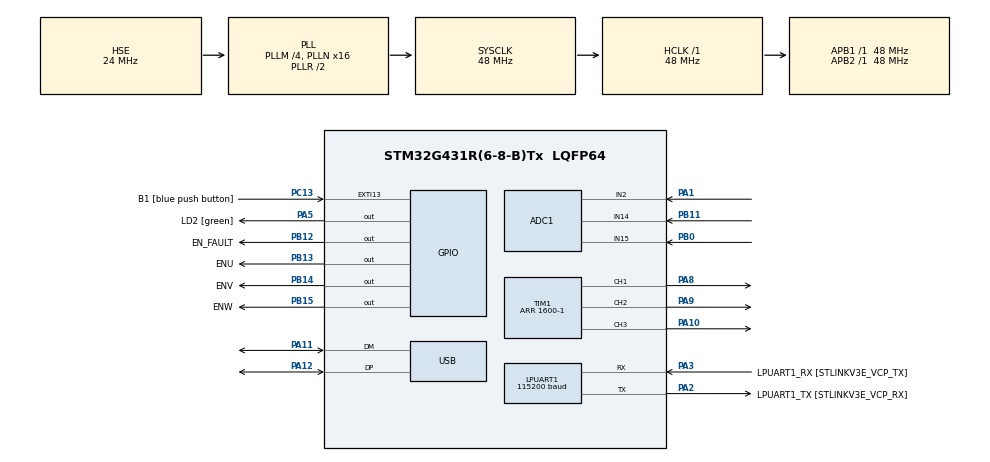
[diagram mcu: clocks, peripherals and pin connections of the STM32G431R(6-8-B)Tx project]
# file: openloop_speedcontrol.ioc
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ADC1.Channel-1\#ChannelRegularConversion=ADC_CHANNEL_14
ADC1.Channel-2\#ChannelRegularConversion=ADC_CHANNEL_2
ADC1.Channel-3\#ChannelRegularConversion=ADC_CHANNEL_2
ADC1.ContinuousConvMode=ENABLE
ADC1.EnableAnalogWatchDog1=false
ADC1.NbrOfConversion=3
ADC1.NbrOfConversionFlag=1
ADC1.OffsetNumber-1\#ChannelRegularConversion=ADC_OFFSET_NONE
ADC1.OffsetNumber-2\#ChannelRegularConversion=ADC_OFFSET_NONE
ADC1.OffsetNumber-3\#ChannelRegularConversion=ADC_OFFSET_NONE
ADC1.Rank-1\#ChannelRegularConversion=1
ADC1.Rank-2\#ChannelRegularConversion=2
ADC1.Rank-3\#ChannelRegularConversion=3
ADC1.SamplingTime-1\#ChannelRegularConversion=ADC_SAMPLETIME_2CYCLES_5
ADC1.SamplingTime-2\#ChannelRegularConversion=ADC_SAMPLETIME_2CYCLES_5
ADC1.SamplingTime-3\#ChannelRegularConversion=ADC_SAMPLETIME_2CYCLES_5
ADC1.master=1
LPUART1.BaudRate=115200
LPUART1.WordLength=UART_WORDLENGTH_8B
Mcu.Family=STM32G4
Mcu.Name=STM32G431R(6-8-B)Tx
Mcu.Package=LQFP64
NVIC.PriorityGroup=NVIC_PRIORITYGROUP_4
NVIC.TIM2_IRQn=true\:0\:0\:false\:false\:true\:true\:true\:true
NVIC.USB_LP_IRQn=true\:0\:0\:false\:false\:true\:false\:true\:true
PA1.Mode=IN2-Single-Ended
PA1.Signal=ADC1_IN2
PA10.Signal=S_TIM1_CH3
PA11.Mode=Device
PA11.Signal=USB_DM
PA12.Mode=Device
PA12.Signal=USB_DP
PA13.GPIO_Label=T_SWDIO
PA13.Mode=Serial_Wire
PA13.Signal=SYS_JTMS-SWDIO
PA14.GPIO_Label=T_SWCLK
PA14.Mode=Serial_Wire
PA14.Signal=SYS_JTCK-SWCLK
PA2.GPIO_Label=LPUART1_TX [STLINKV3E_VCP_RX]
PA2.Mode=Asynchronous
PA2.Signal=LPUART1_TX
PA3.GPIO_Label=LPUART1_RX [STLINKV3E_VCP_TX]
PA3.Mode=Asynchronous
PA3.Signal=LPUART1_RX
PA5.GPIO_Label=LD2 [green]
PA5.Signal=GPIO_Output
PA8.Signal=S_TIM1_CH1
PA9.Signal=S_TIM1_CH2
PB0.Mode=IN15-Single-Ended
PB0.Signal=ADC1_IN15
PB11.Mode=IN14-Single-Ended
PB11.Signal=ADC1_IN14
PB12.GPIO_Label=EN_FAULT
PB12.Signal=GPIO_Output
PB13.GPIO_Label=ENU
PB13.Signal=GPIO_Output
PB14.GPIO_Label=ENV
PB14.Signal=GPIO_Output
PB15.GPIO_Label=ENW
PB15.Signal=GPIO_Output
PB3.GPIO_Label=T_SWO
PB3.Signal=SYS_JTDO-SWO
PC13.GPIO_Label=B1 [blue push button]
PC13.Signal=GPXTI13
PC14-OSC32_IN.Mode=LSE-External-Oscillator
PC14-OSC32_IN.Signal=RCC_OSC32_IN
PC15-OSC32_OUT.Mode=LSE-External-Oscillator
PC15-OSC32_OUT.Signal=RCC_OSC32_OUT
PF0-OSC_IN.Mode=HSE-External-Oscillator
PF0-OSC_IN.Signal=RCC_OSC_IN
PF1-OSC_OUT.Mode=HSE-External-Oscillator
PF1-OSC_OUT.Signal=RCC_OSC_OUT
ProjectManager.HeapSize=0x200
ProjectManager.StackSize=0x400
ProjectManager.TargetToolchain=STM32CubeIDE
RCC.ADC12Freq_Value=48000000
RCC.AHBFreq_Value=48000000
RCC.APB1Freq_Value=48000000
RCC.APB1TimFreq_Value=48000000
RCC.APB2Freq_Value=48000000
RCC.APB2TimFreq_Value=48000000
RCC.CortexFreq_Value=48000000
RCC.EXTERNAL_CLOCK_VALUE=12288000
RCC.HCLKFreq_Value=48000000
RCC.HSE_VALUE=24000000
RCC.HSI48_VALUE=48000000
RCC.HSI_VALUE=16000000
RCC.PLLM=RCC_PLLM_DIV4
RCC.PLLN=16
RCC.PLLSourceVirtual=RCC_PLLSOURCE_HSE
RCC.RTCClockSelection=RCC_RTCCLKSOURCE_LSE
RCC.SYSCLKFreq_VALUE=48000000
RCC.SYSCLKSource=RCC_SYSCLKSOURCE_PLLCLK
RCC.USBFreq_Value=48000000
RCC.VCOOutputFreq_Value=96000000
SH.S_TIM1_CH1.0=TIM1_CH1,PWM Generation1 CH1
SH.S_TIM1_CH2.0=TIM1_CH2,PWM Generation2 CH2
SH.S_TIM1_CH3.0=TIM1_CH3,PWM Generation3 CH3
TIM1.Channel-PWM\ Generation1\ CH1=TIM_CHANNEL_1
TIM1.Channel-PWM\ Generation2\ CH2=TIM_CHANNEL_2
TIM1.Channel-PWM\ Generation3\ CH3=TIM_CHANNEL_3
TIM1.PeriodNoDither=1600-1
TIM2.PeriodNoDither=3000-1
TIM2.Prescaler=80-1
USB_DEVICE.CLASS_NAME_FS=CDC
USB_DEVICE.VirtualMode=Cdc
USB_DEVICE.VirtualModeFS=Cdc_FS
VP_SYS_VS_DBSignals.Mode=DisableDeadBatterySignals
VP_TIM1_VS_ClockSourceINT.Mode=Internal
VP_TIM2_VS_ClockSourceINT.Mode=Internal
VP_USB_DEVICE_VS_USB_DEVICE_CDC_FS.Mode=CDC_FS
board=NUCLEO-G431RB

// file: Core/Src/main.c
/* USER CODE BEGIN Header */
/**
  ******************************************************************************
  * @file           : main.c
  * @brief          : Main program body
  ******************************************************************************
  * @attention
  *
  * Copyright (c) 2023 STMicroelectronics.
  * All rights reserved.
  *
  * This software is licensed under terms that can be found in the LICENSE file
  * in the root directory of this software component.
  * If no LICENSE file comes with this software, it is provided AS-IS.
  *
  ******************************************************************************
  */
/* USER CODE END Header */
#include "main.h"
#include "usb_device.h"

/* USER CODE BEGIN Includes */
#include "usbd_cdc_if.h"
#include "string.h"
#include <math.h>
/* USER CODE END Includes */

ADC_HandleTypeDef hadc1;

UART_HandleTypeDef hlpuart1;

TIM_HandleTypeDef htim1;
TIM_HandleTypeDef htim2;

void SystemClock_Config(void);
static void MX_GPIO_Init(void);
static void MX_LPUART1_UART_Init(void);
static void MX_TIM1_Init(void);
static void MX_TIM2_Init(void);
static void MX_ADC1_Init(void);

/* USER CODE BEGIN 0 */
char data[50];
#define _constrain(amt,low,high) ((amt)<(low)?(low):((amt)>(high)?(high):(amt)))
float voltage_limit=12;
float voltage_power_supply=12;
float shaft_angle=0,open_loop_timestamp=0;
float zero_electric_angle=0,Ualpha,Ubeta=0,Ua=0,Ub=0,Uc=0,dc_a=0,dc_b=0,dc_c=0;
int period=2400;
int pole_pairs=11;
int index1=0;
uint16_t raw1,raw2,raw3;
uint16_t adc_values[3];
static inline uint32_t LL_SYSTICK_IsActiveCounterFlag(void)
{
  return ((SysTick->CTRL & SysTick_CTRL_COUNTFLAG_Msk) == (SysTick_CTRL_COUNTFLAG_Msk));
}
uint32_t getCurrentMicros(void)
{
  /* Ensure COUNTFLAG is reset by reading SysTick control and status register */
  LL_SYSTICK_IsActiveCounterFlag();
  uint32_t m = HAL_GetTick();
  const uint32_t tms = SysTick->LOAD + 1;
  __IO uint32_t u = tms - SysTick->VAL;
  if (LL_SYSTICK_IsActiveCounterFlag()) {
    m = HAL_GetTick();
    u = tms - SysTick->VAL;
  }
  return (m * 1000 + (u * 1000) / tms);
}
float _electricalAngle(float shaft_angle, int pole_pairs) {
  return (shaft_angle * pole_pairs);
}
float _normalizeAngle(float angle){
  float a = fmod(angle, 2*M_PI);   //取余运算可以用于归一化，列出特殊值例子算便知
  return a >= 0 ? a : (a + 2*M_PI);
  //三目运算符。格式：condition ? expr1 : expr2
  //其中，condition 是要求值的条件表达式，如果条件成立，则返回 expr1 的值，否则返回 expr2 的值。
  //可以将三目运算符视为 if-else 语句的简化形式。
  //fmod 函数的余数的符号与除数相同。因此，当 angle 的值为负数时，余数的符号将与 _2M_PI 的符号相反。
  //也就是说，如果 angle 的值小于 0 且 _2M_PI 的值为正数，则 fmod(angle, _2M_PI) 的余数将为负数。
  //例如，当 angle 的值为 -M_PI/2，_2M_PI 的值为 2M_PI 时，fmod(angle, _2M_PI) 将返回一个负数。
  //在这种情况下，可以通过将负数的余数加上 _2M_PI 来将角度归一化到 [0, 2M_PI] 的范围内，以确保角度的值始终为正数。
}

void setPwm(float Ua, float Ub, float Uc) {

//	// 限制上限
	Ua = _constrain(Ua, 0.0f, voltage_limit);
	Ub = _constrain(Ub, 0.0f, voltage_limit);
	Uc = _constrain(Uc, 0.0f, voltage_limit);
	// 计算占空比
	// 限制占空比从0到1
	dc_a = _constrain(Ua / voltage_power_supply, 0.0f , 1.0f );
	dc_b = _constrain(Ub / voltage_power_supply, 0.0f , 1.0f );
	dc_c = _constrain(Uc / voltage_power_supply, 0.0f , 1.0f );

	//写入PWM到PWM 0 1 2 通道
	TIM1->CCR1 = (uint32_t) roundf(dc_a*period);
	TIM1->CCR2 = (uint32_t) roundf(dc_b*period);
	TIM1->CCR3 = (uint32_t) roundf(dc_c*period);

}

void setPhaseVoltage(float Uq,float Ud, float angle_el) {
  angle_el = _normalizeAngle(angle_el + zero_electric_angle);
  // 帕克逆变换
  Ualpha =  -Uq*sin(angle_el);
  Ubeta =   Uq*cos(angle_el);

  // 克拉克逆变换
  Ua = Ualpha + voltage_power_supply/2;
  Ub = (sqrt(3)*Ubeta-Ualpha)/2 + voltage_power_supply/2;
  Uc = (-Ualpha-sqrt(3)*Ubeta)/2 + voltage_power_supply/2;
  setPwm(Ua,Ub,Uc);
}

//开环速度函数
float velocityOpenloop(float target_velocity){
//	uint32_t now_us = getCurrentMicros();
//	uint32_t now_us = HAL_GetTick();
//  Provides a tick value in microseconds.

  //计算当前每个Loop的运行时间间隔
//  float Ts = (now_us - open_loop_timestamp) * 1e-3f;
	float Ts=5E-3f;

  // 通过乘以时间间隔和目标速度来计算需要转动的机械角度，存储在 shaft_angle 变量中。
  //在此之前，还需要对轴角度进行归一化，以确保其值在 0 到 2π 之间。
  shaft_angle = _normalizeAngle(shaft_angle + target_velocity*Ts);
  //以目标速度为 10 rad/s 为例，如果时间间隔是 1 秒，则在每个循环中需要增加 10 * 1 = 10 弧度的角度变化量，才能使电机转动到目标速度。
  //如果时间间隔是 0.1 秒，那么在每个循环中需要增加的角度变化量就是 10 * 0.1 = 1 弧度，才能实现相同的目标速度。
  //因此，电机轴的转动角度取决于目标速度和时间间隔的乘积。

  // Uq is not related to voltage limit
  float Uq = 5.5;

  setPhaseVoltage(Uq,  0, _electricalAngle(shaft_angle, pole_pairs));

//  open_loop_timestamp = now_us;  //用于计算下一个时间间隔

  return Uq;
}

/* USER CODE END 0 */

int main(void)
{

  /* MCU Configuration--------------------------------------------------------*/

  /* Reset of all peripherals, Initializes the Flash interface and the Systick. */
  HAL_Init();

  /* Configure the system clock */
  SystemClock_Config();

  /* Initialize all configured peripherals */
  MX_GPIO_Init();
  MX_LPUART1_UART_Init();
  MX_TIM1_Init();
  MX_USB_Device_Init();
  MX_TIM2_Init();
  MX_ADC1_Init();
  /* USER CODE BEGIN 2 */
  HAL_GPIO_WritePin(LD2_GPIO_Port, LD2_Pin, GPIO_PIN_SET);

  HAL_GPIO_WritePin(EN_FAULT_GPIO_Port, EN_FAULT_Pin, GPIO_PIN_SET);
  HAL_GPIO_WritePin(ENU_GPIO_Port, ENU_Pin, GPIO_PIN_SET);
  HAL_GPIO_WritePin(ENV_GPIO_Port, ENV_Pin, GPIO_PIN_SET);
  HAL_GPIO_WritePin(ENW_GPIO_Port, ENW_Pin, GPIO_PIN_SET);
  sprintf(data, "Hello from stm32 \n");
  HAL_UART_Transmit(&hlpuart1,(uint8_t *)data, strlen(data),100);
  HAL_TIM_PWM_Start(&htim1, TIM_CHANNEL_1);
  HAL_TIM_PWM_Start(&htim1, TIM_CHANNEL_2);
  HAL_TIM_PWM_Start(&htim1, TIM_CHANNEL_3);
  HAL_TIM_Base_Start_IT(&htim2);
//  HAL_ADC_Start(&hadc1);
//  int index=0;
  /* USER CODE END 2 */

  /* Infinite loop */
  while (1)
  {

    /* USER CODE BEGIN 3 */

//	 	  index+=1;
  }
  /* USER CODE END 3 */
}

void SystemClock_Config(void)
{
  RCC_OscInitTypeDef RCC_OscInitStruct = {0};
  RCC_ClkInitTypeDef RCC_ClkInitStruct = {0};

  /** Configure the main internal regulator output voltage
  */
  HAL_PWREx_ControlVoltageScaling(PWR_REGULATOR_VOLTAGE_SCALE1);

  /** Initializes the RCC Oscillators according to the specified parameters
  * in the RCC_OscInitTypeDef structure.
  */
  RCC_OscInitStruct.OscillatorType = RCC_OSCILLATORTYPE_HSE;
  RCC_OscInitStruct.HSEState = RCC_HSE_ON;
  RCC_OscInitStruct.PLL.PLLState = RCC_PLL_ON;
  RCC_OscInitStruct.PLL.PLLSource = RCC_PLLSOURCE_HSE;
  RCC_OscInitStruct.PLL.PLLM = RCC_PLLM_DIV4;
  RCC_OscInitStruct.PLL.PLLN = 16;
  RCC_OscInitStruct.PLL.PLLP = RCC_PLLP_DIV2;
  RCC_OscInitStruct.PLL.PLLQ = RCC_PLLQ_DIV2;
  RCC_OscInitStruct.PLL.PLLR = RCC_PLLR_DIV2;
  if (HAL_RCC_OscConfig(&RCC_OscInitStruct) != HAL_OK)
  {
    Error_Handler();
  }

  /** Initializes the CPU, AHB and APB buses clocks
  */
  RCC_ClkInitStruct.ClockType = RCC_CLOCKTYPE_HCLK|RCC_CLOCKTYPE_SYSCLK
                              |RCC_CLOCKTYPE_PCLK1|RCC_CLOCKTYPE_PCLK2;
  RCC_ClkInitStruct.SYSCLKSource = RCC_SYSCLKSOURCE_PLLCLK;
  RCC_ClkInitStruct.AHBCLKDivider = RCC_SYSCLK_DIV1;
  RCC_ClkInitStruct.APB1CLKDivider = RCC_HCLK_DIV1;
  RCC_ClkInitStruct.APB2CLKDivider = RCC_HCLK_DIV1;

  if (HAL_RCC_ClockConfig(&RCC_ClkInitStruct, FLASH_LATENCY_1) != HAL_OK)
  {
    Error_Handler();
  }
}

static void MX_ADC1_Init(void)
{

  ADC_MultiModeTypeDef multimode = {0};
  ADC_ChannelConfTypeDef sConfig = {0};

  /** Common config
  */
  hadc1.Instance = ADC1;
  hadc1.Init.ClockPrescaler = ADC_CLOCK_SYNC_PCLK_DIV2;
  hadc1.Init.Resolution = ADC_RESOLUTION_12B;
  hadc1.Init.DataAlign = ADC_DATAALIGN_RIGHT;
  hadc1.Init.GainCompensation = 0;
  hadc1.Init.ScanConvMode = ADC_SCAN_ENABLE;
  hadc1.Init.EOCSelection = ADC_EOC_SINGLE_CONV;
  hadc1.Init.LowPowerAutoWait = DISABLE;
  hadc1.Init.ContinuousConvMode = ENABLE;
  hadc1.Init.NbrOfConversion = 3;
  hadc1.Init.DiscontinuousConvMode = DISABLE;
  hadc1.Init.ExternalTrigConv = ADC_SOFTWARE_START;
  hadc1.Init.ExternalTrigConvEdge = ADC_EXTERNALTRIGCONVEDGE_NONE;
  hadc1.Init.DMAContinuousRequests = DISABLE;
  hadc1.Init.Overrun = ADC_OVR_DATA_PRESERVED;
  hadc1.Init.OversamplingMode = DISABLE;
  if (HAL_ADC_Init(&hadc1) != HAL_OK)
  {
    Error_Handler();
  }

  /** Configure the ADC multi-mode
  */
  multimode.Mode = ADC_MODE_INDEPENDENT;
  if (HAL_ADCEx_MultiModeConfigChannel(&hadc1, &multimode) != HAL_OK)
  {
    Error_Handler();
  }

  /** Configure Regular Channel
  */
  sConfig.Channel = ADC_CHANNEL_14;
  sConfig.Rank = ADC_REGULAR_RANK_1;
  sConfig.SamplingTime = ADC_SAMPLETIME_2CYCLES_5;
  sConfig.SingleDiff = ADC_SINGLE_ENDED;
  sConfig.OffsetNumber = ADC_OFFSET_NONE;
  sConfig.Offset = 0;
  if (HAL_ADC_ConfigChannel(&hadc1, &sConfig) != HAL_OK)
  {
    Error_Handler();
  }

  /** Configure Regular Channel
  */
  sConfig.Channel = ADC_CHANNEL_2;
  sConfig.Rank = ADC_REGULAR_RANK_2;
  if (HAL_ADC_ConfigChannel(&hadc1, &sConfig) != HAL_OK)
  {
    Error_Handler();
  }

  /** Configure Regular Channel
  */
  sConfig.Rank = ADC_REGULAR_RANK_3;
  if (HAL_ADC_ConfigChannel(&hadc1, &sConfig) != HAL_OK)
  {
    Error_Handler();
  }

}

static void MX_LPUART1_UART_Init(void)
{

  hlpuart1.Instance = LPUART1;
  hlpuart1.Init.BaudRate = 115200;
  hlpuart1.Init.WordLength = UART_WORDLENGTH_8B;
  hlpuart1.Init.StopBits = UART_STOPBITS_1;
  hlpuart1.Init.Parity = UART_PARITY_NONE;
  hlpuart1.Init.Mode = UART_MODE_TX_RX;
  hlpuart1.Init.HwFlowCtl = UART_HWCONTROL_NONE;
  hlpuart1.Init.OneBitSampling = UART_ONE_BIT_SAMPLE_DISABLE;
  hlpuart1.Init.ClockPrescaler = UART_PRESCALER_DIV1;
  hlpuart1.AdvancedInit.AdvFeatureInit = UART_ADVFEATURE_NO_INIT;
  if (HAL_UART_Init(&hlpuart1) != HAL_OK)
  {
    Error_Handler();
  }
  if (HAL_UARTEx_SetTxFifoThreshold(&hlpuart1, UART_TXFIFO_THRESHOLD_1_8) != HAL_OK)
  {
    Error_Handler();
  }
  if (HAL_UARTEx_SetRxFifoThreshold(&hlpuart1, UART_RXFIFO_THRESHOLD_1_8) != HAL_OK)
  {
    Error_Handler();
  }
  if (HAL_UARTEx_DisableFifoMode(&hlpuart1) != HAL_OK)
  {
    Error_Handler();
  }

}

static void MX_TIM1_Init(void)
{

  TIM_ClockConfigTypeDef sClockSourceConfig = {0};
  TIM_MasterConfigTypeDef sMasterConfig = {0};
  TIM_OC_InitTypeDef sConfigOC = {0};
  TIM_BreakDeadTimeConfigTypeDef sBreakDeadTimeConfig = {0};

  htim1.Instance = TIM1;
  htim1.Init.Prescaler = 0;
  htim1.Init.CounterMode = TIM_COUNTERMODE_UP;
  htim1.Init.Period = 1599;
  htim1.Init.ClockDivision = TIM_CLOCKDIVISION_DIV1;
  htim1.Init.RepetitionCounter = 0;
  htim1.Init.AutoReloadPreload = TIM_AUTORELOAD_PRELOAD_DISABLE;
  if (HAL_TIM_Base_Init(&htim1) != HAL_OK)
  {
    Error_Handler();
  }
  sClockSourceConfig.ClockSource = TIM_CLOCKSOURCE_INTERNAL;
  if (HAL_TIM_ConfigClockSource(&htim1, &sClockSourceConfig) != HAL_OK)
  {
    Error_Handler();
  }
  if (HAL_TIM_PWM_Init(&htim1) != HAL_OK)
  {
    Error_Handler();
  }
  sMasterConfig.MasterOutputTrigger = TIM_TRGO_RESET;
  sMasterConfig.MasterOutputTrigger2 = TIM_TRGO2_RESET;
  sMasterConfig.MasterSlaveMode = TIM_MASTERSLAVEMODE_DISABLE;
  if (HAL_TIMEx_MasterConfigSynchronization(&htim1, &sMasterConfig) != HAL_OK)
  {
    Error_Handler();
  }
  sConfigOC.OCMode = TIM_OCMODE_PWM1;
  sConfigOC.Pulse = 0;
  sConfigOC.OCPolarity = TIM_OCPOLARITY_HIGH;
  sConfigOC.OCNPolarity = TIM_OCNPOLARITY_HIGH;
  sConfigOC.OCFastMode = TIM_OCFAST_DISABLE;
  sConfigOC.OCIdleState = TIM_OCIDLESTATE_RESET;
  sConfigOC.OCNIdleState = TIM_OCNIDLESTATE_RESET;
  if (HAL_TIM_PWM_ConfigChannel(&htim1, &sConfigOC, TIM_CHANNEL_1) != HAL_OK)
  {
    Error_Handler();
  }
  if (HAL_TIM_PWM_ConfigChannel(&htim1, &sConfigOC, TIM_CHANNEL_2) != HAL_OK)
  {
    Error_Handler();
  }
  if (HAL_TIM_PWM_ConfigChannel(&htim1, &sConfigOC, TIM_CHANNEL_3) != HAL_OK)
  {
    Error_Handler();
  }
  sBreakDeadTimeConfig.OffStateRunMode = TIM_OSSR_DISABLE;
  sBreakDeadTimeConfig.OffStateIDLEMode = TIM_OSSI_DISABLE;
  sBreakDeadTimeConfig.LockLevel = TIM_LOCKLEVEL_OFF;
  sBreakDeadTimeConfig.DeadTime = 0;
  sBreakDeadTimeConfig.BreakState = TIM_BREAK_DISABLE;
  sBreakDeadTimeConfig.BreakPolarity = TIM_BREAKPOLARITY_HIGH;
  sBreakDeadTimeConfig.BreakFilter = 0;
  sBreakDeadTimeConfig.BreakAFMode = TIM_BREAK_AFMODE_INPUT;
  sBreakDeadTimeConfig.Break2State = TIM_BREAK2_DISABLE;
  sBreakDeadTimeConfig.Break2Polarity = TIM_BREAK2POLARITY_HIGH;
  sBreakDeadTimeConfig.Break2Filter = 0;
  sBreakDeadTimeConfig.Break2AFMode = TIM_BREAK_AFMODE_INPUT;
  sBreakDeadTimeConfig.AutomaticOutput = TIM_AUTOMATICOUTPUT_DISABLE;
  if (HAL_TIMEx_ConfigBreakDeadTime(&htim1, &sBreakDeadTimeConfig) != HAL_OK)
  {
    Error_Handler();
  }
  HAL_TIM_MspPostInit(&htim1);

}

static void MX_TIM2_Init(void)
{

  TIM_ClockConfigTypeDef sClockSourceConfig = {0};
  TIM_MasterConfigTypeDef sMasterConfig = {0};

  htim2.Instance = TIM2;
  htim2.Init.Prescaler = 80-1;
  htim2.Init.CounterMode = TIM_COUNTERMODE_UP;
  htim2.Init.Period = 2999;
  htim2.Init.ClockDivision = TIM_CLOCKDIVISION_DIV1;
  htim2.Init.AutoReloadPreload = TIM_AUTORELOAD_PRELOAD_DISABLE;
  if (HAL_TIM_Base_Init(&htim2) != HAL_OK)
  {
    Error_Handler();
  }
  sClockSourceConfig.ClockSource = TIM_CLOCKSOURCE_INTERNAL;
  if (HAL_TIM_ConfigClockSource(&htim2, &sClockSourceConfig) != HAL_OK)
  {
    Error_Handler();
  }
  sMasterConfig.MasterOutputTrigger = TIM_TRGO_RESET;
  sMasterConfig.MasterSlaveMode = TIM_MASTERSLAVEMODE_DISABLE;
  if (HAL_TIMEx_MasterConfigSynchronization(&htim2, &sMasterConfig) != HAL_OK)
  {
    Error_Handler();
  }

}

static void MX_GPIO_Init(void)
{
  GPIO_InitTypeDef GPIO_InitStruct = {0};

  /* GPIO Ports Clock Enable */
  __HAL_RCC_GPIOC_CLK_ENABLE();
  __HAL_RCC_GPIOF_CLK_ENABLE();
  __HAL_RCC_GPIOA_CLK_ENABLE();
  __HAL_RCC_GPIOB_CLK_ENABLE();

  /*Configure GPIO pin Output Level */
  HAL_GPIO_WritePin(LD2_GPIO_Port, LD2_Pin, GPIO_PIN_RESET);

  /*Configure GPIO pin Output Level */
  HAL_GPIO_WritePin(GPIOB, EN_FAULT_Pin|ENU_Pin|ENV_Pin|ENW_Pin, GPIO_PIN_RESET);

  /*Configure GPIO pin : B1_Pin */
  GPIO_InitStruct.Pin = B1_Pin;
  GPIO_InitStruct.Mode = GPIO_MODE_IT_RISING;
  GPIO_InitStruct.Pull = GPIO_NOPULL;
  HAL_GPIO_Init(B1_GPIO_Port, &GPIO_InitStruct);

  /*Configure GPIO pin : LD2_Pin */
  GPIO_InitStruct.Pin = LD2_Pin;
  GPIO_InitStruct.Mode = GPIO_MODE_OUTPUT_PP;
  GPIO_InitStruct.Pull = GPIO_NOPULL;
  GPIO_InitStruct.Speed = GPIO_SPEED_FREQ_LOW;
  HAL_GPIO_Init(LD2_GPIO_Port, &GPIO_InitStruct);

  /*Configure GPIO pins : EN_FAULT_Pin ENU_Pin ENV_Pin ENW_Pin */
  GPIO_InitStruct.Pin = EN_FAULT_Pin|ENU_Pin|ENV_Pin|ENW_Pin;
  GPIO_InitStruct.Mode = GPIO_MODE_OUTPUT_PP;
  GPIO_InitStruct.Pull = GPIO_NOPULL;
  GPIO_InitStruct.Speed = GPIO_SPEED_FREQ_LOW;
  HAL_GPIO_Init(GPIOB, &GPIO_InitStruct);

}

/* USER CODE BEGIN 4 */
void HAL_TIM_PeriodElapsedCallback(TIM_HandleTypeDef *htim)
{
  // Check which version of the timer triggered this callback and toggle LED
  if (htim == &htim2 )
  {
    HAL_GPIO_TogglePin(LD2_GPIO_Port, LD2_Pin);
    velocityOpenloop(5);
    index1+=1;
    if (index1 == 200){
//		adc_values[0] = HAL_ADC_GetValue(&hadc1); // Get IN1 converted value
//		adc_values[1] = HAL_ADC_GetValue(&hadc1); // Get IN2 converted value
//		adc_values[2] = HAL_ADC_GetValue(&hadc1); // Get IN3 converted value
//		sprintf(data, "sensed voltage: %u  \t %u \t %u  \n", adc_values[0] ,adc_values[1],adc_values[2]  );
    	sprintf(data, "open loop control \n");
    	HAL_UART_Transmit(&hlpuart1,(uint8_t *)data, strlen(data),100);
    	index1=0;
    }
  }
}
/* USER CODE END 4 */

void Error_Handler(void)
{
  __disable_irq();
  while (1)
  {
  }
}
